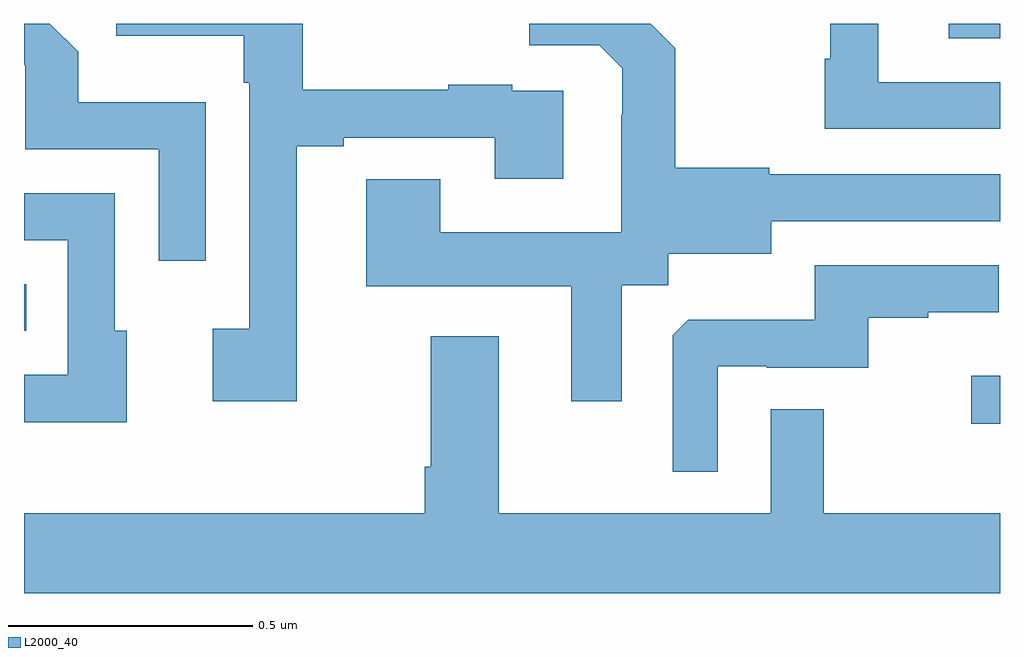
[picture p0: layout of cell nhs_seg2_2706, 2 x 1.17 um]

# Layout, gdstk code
import gdstk
lib = gdstk.Library(unit=1e-6, precision=1e-09)
def R(c, l, rs):  # rectangles x0, y0, x1, y1
    for r in rs: c.add(gdstk.rectangle(r[:2], r[2:], *l))
def P(c, l, *ps):  # polygons
    for p in ps: c.add(gdstk.Polygon(p, *l))
L2000_40 = (2000, 40)

nhs_seg2_2706 = lib.new_cell('nhs_seg2_2706')
R(nhs_seg2_2706, L2000_40, [(145.941,651.98,146,652.078), (144,652.17,144.005,652.266), (145.895,652.77,146,652.8)])
P(nhs_seg2_2706, L2000_40, [(144.372,652.639),(144.111,652.639),(144.111,652.742),(144.053,652.8),(144,652.8),(144,652.716),(144.003,652.713),(144.003,652.542),(144.276,652.542),(144.276,652.314),(144.372,652.314)],
  [(146,652.68),(145.75,652.68),(145.75,652.8),(145.652,652.8),(145.652,652.728),(145.641,652.728),(145.641,652.584),(146,652.584)],
  [(144.559,652.548),(144.655,652.548),(144.655,652.566),(144.965,652.566),(144.965,652.482),(145.105,652.482),(145.105,652.662),(145.001,652.662),(145.001,652.675),(144.869,652.675),(144.869,652.664),(144.571,652.664),(144.571,652.8),(144.189,652.8),(144.189,652.775),(144.45,652.775),(144.45,652.679),(144.462,652.679),(144.462,652.174),(144.387,652.174),(144.387,652.026),(144.559,652.026)],
  [(145.225,652.264),(145.32,652.264),(145.32,652.328),(145.531,652.328),(145.531,652.395),(146,652.395),(146,652.491),(145.527,652.491),(145.527,652.504),(145.335,652.504),(145.335,652.749),(145.284,652.8),(145.035,652.8),(145.035,652.755),(145.179,652.755),(145.226,652.708),(145.226,652.613),(145.224,652.613),(145.224,652.372),(144.853,652.372),(144.853,652.481),(144.701,652.481),(144.701,652.262),(145.121,652.262),(145.121,652.026),(145.225,652.026)],
  [(144.211,652.17),(144.186,652.17),(144.186,652.452),(144,652.452),(144,652.356),(144.09,652.356),(144.09,652.08),(144,652.08),(144,651.983),(144.211,651.983)],
  [(145.422,652.098),(145.522,652.098),(145.522,652.095),(145.73,652.095),(145.73,652.197),(145.853,652.197),(145.853,652.208),(145.997,652.208),(145.997,652.305),(145.62,652.305),(145.62,652.193),(145.361,652.193),(145.329,652.161),(145.329,651.881),(145.422,651.881)],
  [(146,651.796),(145.639,651.796),(145.639,652.01),(145.53,652.01),(145.53,651.796),(144.973,651.796),(144.973,652.159),(144.833,652.159),(144.833,651.892),(144.821,651.892),(144.821,651.796),(144,651.796),(144,651.632),(146,651.632)])

lib.write_gds('nhs_seg2_2706.gds')
